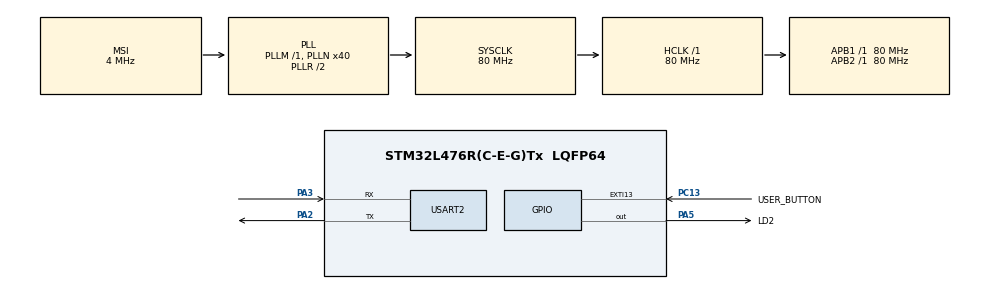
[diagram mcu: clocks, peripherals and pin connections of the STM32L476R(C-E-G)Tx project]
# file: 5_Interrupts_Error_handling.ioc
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Mcu.Family=STM32L4
Mcu.Name=STM32L476R(C-E-G)Tx
Mcu.Package=LQFP64
NVIC.EXTI15_10_IRQn=true\:8\:0\:true\:false\:true\:true\:true\:true
NVIC.PriorityGroup=NVIC_PRIORITYGROUP_4
NVIC.USART2_IRQn=true\:12\:0\:true\:false\:true\:true\:true\:true
PA13\ (JTMS-SWDIO).Mode=Serial_Wire
PA13\ (JTMS-SWDIO).Signal=SYS_JTMS-SWDIO
PA14\ (JTCK-SWCLK).Mode=Serial_Wire
PA14\ (JTCK-SWCLK).Signal=SYS_JTCK-SWCLK
PA2.Mode=Asynchronous
PA2.Signal=USART2_TX
PA3.Mode=Asynchronous
PA3.Signal=USART2_RX
PA5.GPIO_Label=LD2
PA5.Signal=GPIO_Output
PC13.GPIO_Label=USER_BUTTON
PC13.GPIO_ModeDefaultEXTI=GPIO_MODE_IT_FALLING
PC13.Signal=GPXTI13
ProjectManager.HeapSize=0x200
ProjectManager.StackSize=0x400
ProjectManager.TargetToolchain=STM32CubeIDE
RCC.AHBFreq_Value=80000000
RCC.APB1Freq_Value=80000000
RCC.APB1TimFreq_Value=80000000
RCC.APB2Freq_Value=80000000
RCC.APB2TimFreq_Value=80000000
RCC.CortexFreq_Value=80000000
RCC.HCLKFreq_Value=80000000
RCC.HSE_VALUE=8000000
RCC.HSI_VALUE=16000000
RCC.LSE_VALUE=32768
RCC.MSI_VALUE=4000000
RCC.PLLN=40
RCC.SYSCLKFreq_VALUE=80000000
RCC.SYSCLKSource=RCC_SYSCLKSOURCE_PLLCLK
RCC.VCOOutputFreq_Value=160000000
USART2.VirtualMode-Asynchronous=VM_ASYNC
board=custom

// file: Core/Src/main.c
/* USER CODE BEGIN Header */
/**
  ******************************************************************************
  * @file           : main.c
  * @brief          : Main program body
  ******************************************************************************
  * @attention
  *
  * Copyright (c) 2024 STMicroelectronics.
  * All rights reserved.
  *
  * This software is licensed under terms that can be found in the LICENSE file
  * in the root directory of this software component.
  * If no LICENSE file comes with this software, it is provided AS-IS.
  *
  ******************************************************************************
  */
/* USER CODE END Header */
#include "main.h"

/* USER CODE BEGIN Includes */
#include <stdio.h>
#include <string.h>
/* USER CODE END Includes */

/* USER CODE BEGIN PD */
#define LINE_MAX_LENGTH 80
/* USER CODE END PD */

UART_HandleTypeDef huart2;

/* USER CODE BEGIN PV */
volatile uint32_t counter; //volatile force compiler to always look in to memory
static char line_buffer[LINE_MAX_LENGTH + 1];
static uint32_t line_length;

typedef enum {
  MESSAGE_1,
  MESSAGE_2,
  DONE
}sender_state;

sender_state message_number = MESSAGE_1;
uint8_t uart_rx_buffer;
/* USER CODE END PV */

void SystemClock_Config(void);
static void MX_GPIO_Init(void);
static void MX_USART2_UART_Init(void);

/* USER CODE BEGIN 0 */
static char line_buffer[LINE_MAX_LENGTH + 1];
static uint32_t line_length;
void line_append(uint8_t value)
{
  if (value == '\r' || value == '\n')
  {
  // End of line
    if (line_length > 0)
    {
      // if not NULL -> add end of line
      line_buffer[line_length] = '\0';
      // data handling
      if (strcmp(line_buffer, "on") == 0)
      {
        HAL_GPIO_WritePin(LD2_GPIO_Port, LD2_Pin, GPIO_PIN_SET);
      }
      else if (strcmp(line_buffer, "off") == 0)
      {
      HAL_GPIO_WritePin(LD2_GPIO_Port, LD2_Pin, GPIO_PIN_RESET);
      }
      //start new text
      line_length = 0;
    }
  }
  else
  {
    if (line_length >= LINE_MAX_LENGTH)
    {
      // to much data
      line_length = 0;
    }
  // add tu buffer
  line_buffer[line_length++] = value;
  }
}

void HAL_GPIO_EXTI_Callback(uint16_t GPIO_Pin)// interrupt from button
{
	if (GPIO_Pin == USER_BUTTON_Pin)
	{
		counter++;
	}
}

int __io_putchar(int ch)					 //serial console printing using printf
{
	if(ch=='\n')
	{
		uint8_t ch2='\r';	//to fix end of line
		HAL_UART_Transmit(&huart2, (uint8_t*)&ch2, 1, HAL_MAX_DELAY);
	}
    HAL_UART_Transmit(&huart2, (uint8_t*)&ch, 1, HAL_MAX_DELAY);
    return 1;
}

void send_next_message(void)				//printing 2 messages one by one using interrupts
{
  static char message[] = "Hello \r\n";
  static char message2[] = "World!\r\n";

  switch (message_number)
  {
  case MESSAGE_1:
    HAL_UART_Transmit_IT(&huart2, (uint8_t*)message, strlen(message));
    message_number = MESSAGE_2;
    break;
  case MESSAGE_2:
    HAL_UART_Transmit_IT(&huart2, (uint8_t*)message2, strlen(message2));
    message_number = DONE;
    break;
  default:
    break;
  }

}

void HAL_UART_TxCpltCallback(UART_HandleTypeDef *huart)		//called after last bit was send via UART
{
	 if (huart == &huart2) {			//if port is correct
	    send_next_message();			//next message
	  }
}

void HAL_UART_RxCpltCallback(UART_HandleTypeDef *huart)		//called after UART receive interrupt
{
	if (huart == &huart2) {
	    line_append(uart_rx_buffer);						//handle message
	    HAL_UART_Receive_IT(&huart2, &uart_rx_buffer, 1);	//turn on waiting for next receive interrupt
	}
}
/* USER CODE END 0 */

int main(void)
{

  /* MCU Configuration--------------------------------------------------------*/

  /* Reset of all peripherals, Initializes the Flash interface and the Systick. */
  HAL_Init();

  /* Configure the system clock */
  SystemClock_Config();

  /* Initialize all configured peripherals */
  MX_GPIO_Init();
  MX_USART2_UART_Init();
  /* USER CODE BEGIN 2 */
  send_next_message();

  HAL_UART_Receive_IT(&huart2, &uart_rx_buffer, 1);		//wait for UART receive interrupt (but rest of program goes on)

  /* USER CODE END 2 */

  /* Infinite loop */
  /* USER CODE BEGIN WHILE */
  uint32_t old_counter = counter;
  while (1)
  {
	if(old_counter!=counter)
	{
		old_counter = counter;
		printf("counter = %lu\n",counter);
	}

    /* USER CODE END WHILE */

  }
}

void SystemClock_Config(void)
{
  RCC_OscInitTypeDef RCC_OscInitStruct = {0};
  RCC_ClkInitTypeDef RCC_ClkInitStruct = {0};

  /** Configure the main internal regulator output voltage
  */
  if (HAL_PWREx_ControlVoltageScaling(PWR_REGULATOR_VOLTAGE_SCALE1) != HAL_OK)
  {
    Error_Handler();
  }

  /** Initializes the RCC Oscillators according to the specified parameters
  * in the RCC_OscInitTypeDef structure.
  */
  RCC_OscInitStruct.OscillatorType = RCC_OSCILLATORTYPE_MSI;
  RCC_OscInitStruct.MSIState = RCC_MSI_ON;
  RCC_OscInitStruct.MSICalibrationValue = 0;
  RCC_OscInitStruct.MSIClockRange = RCC_MSIRANGE_6;
  RCC_OscInitStruct.PLL.PLLState = RCC_PLL_ON;
  RCC_OscInitStruct.PLL.PLLSource = RCC_PLLSOURCE_MSI;
  RCC_OscInitStruct.PLL.PLLM = 1;
  RCC_OscInitStruct.PLL.PLLN = 40;
  RCC_OscInitStruct.PLL.PLLP = RCC_PLLP_DIV7;
  RCC_OscInitStruct.PLL.PLLQ = RCC_PLLQ_DIV2;
  RCC_OscInitStruct.PLL.PLLR = RCC_PLLR_DIV2;
  if (HAL_RCC_OscConfig(&RCC_OscInitStruct) != HAL_OK)
  {
    Error_Handler();
  }

  /** Initializes the CPU, AHB and APB buses clocks
  */
  RCC_ClkInitStruct.ClockType = RCC_CLOCKTYPE_HCLK|RCC_CLOCKTYPE_SYSCLK
                              |RCC_CLOCKTYPE_PCLK1|RCC_CLOCKTYPE_PCLK2;
  RCC_ClkInitStruct.SYSCLKSource = RCC_SYSCLKSOURCE_PLLCLK;
  RCC_ClkInitStruct.AHBCLKDivider = RCC_SYSCLK_DIV1;
  RCC_ClkInitStruct.APB1CLKDivider = RCC_HCLK_DIV1;
  RCC_ClkInitStruct.APB2CLKDivider = RCC_HCLK_DIV1;

  if (HAL_RCC_ClockConfig(&RCC_ClkInitStruct, FLASH_LATENCY_4) != HAL_OK)
  {
    Error_Handler();
  }
}

static void MX_USART2_UART_Init(void)
{

  huart2.Instance = USART2;
  huart2.Init.BaudRate = 115200;
  huart2.Init.WordLength = UART_WORDLENGTH_8B;
  huart2.Init.StopBits = UART_STOPBITS_1;
  huart2.Init.Parity = UART_PARITY_NONE;
  huart2.Init.Mode = UART_MODE_TX_RX;
  huart2.Init.HwFlowCtl = UART_HWCONTROL_NONE;
  huart2.Init.OverSampling = UART_OVERSAMPLING_16;
  huart2.Init.OneBitSampling = UART_ONE_BIT_SAMPLE_DISABLE;
  huart2.AdvancedInit.AdvFeatureInit = UART_ADVFEATURE_NO_INIT;
  if (HAL_UART_Init(&huart2) != HAL_OK)
  {
    Error_Handler();
  }

}

static void MX_GPIO_Init(void)
{
  GPIO_InitTypeDef GPIO_InitStruct = {0};

  /* GPIO Ports Clock Enable */
  __HAL_RCC_GPIOC_CLK_ENABLE();
  __HAL_RCC_GPIOA_CLK_ENABLE();

  /*Configure GPIO pin Output Level */
  HAL_GPIO_WritePin(LD2_GPIO_Port, LD2_Pin, GPIO_PIN_RESET);

  /*Configure GPIO pin : USER_BUTTON_Pin */
  GPIO_InitStruct.Pin = USER_BUTTON_Pin;
  GPIO_InitStruct.Mode = GPIO_MODE_IT_FALLING;
  GPIO_InitStruct.Pull = GPIO_NOPULL;
  HAL_GPIO_Init(USER_BUTTON_GPIO_Port, &GPIO_InitStruct);

  /*Configure GPIO pin : LD2_Pin */
  GPIO_InitStruct.Pin = LD2_Pin;
  GPIO_InitStruct.Mode = GPIO_MODE_OUTPUT_PP;
  GPIO_InitStruct.Pull = GPIO_NOPULL;
  GPIO_InitStruct.Speed = GPIO_SPEED_FREQ_LOW;
  HAL_GPIO_Init(LD2_GPIO_Port, &GPIO_InitStruct);

  /* EXTI interrupt init*/
  HAL_NVIC_SetPriority(EXTI15_10_IRQn, 8, 0);
  HAL_NVIC_EnableIRQ(EXTI15_10_IRQn);

}

void Error_Handler(void)
{
  __disable_irq();
  while (1)
  {
  }
}
